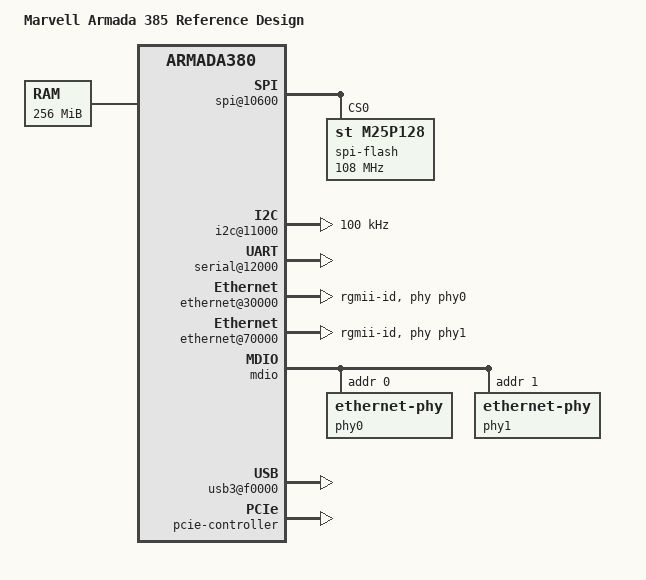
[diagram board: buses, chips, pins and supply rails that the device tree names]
/*
 * Device Tree file for Marvell Armada 385 Reference Design board
 * (RD-88F6820-AP)
 *
 *  Copyright (C) 2014 Marvell
 *
 * Gregory CLEMENT <gregory.clement@free-electrons.com>
 * Thomas Petazzoni <thomas.petazzoni@free-electrons.com>
 *
 * This file is licensed under the terms of the GNU General Public
 * License version 2.  This program is licensed "as is" without any
 * warranty of any kind, whether express or implied.
 */

/dts-v1/;
#include "armada-385.dtsi"

/ {
	model = "Marvell Armada 385 Reference Design";
	compatible = "marvell,a385-rd", "marvell,armada385", "marvell,armada380";

	chosen {
		bootargs = "console=ttyS0,115200 earlyprintk";
	};

	memory {
		device_type = "memory";
		reg = <0x00000000 0x10000000>; /* 256 MB */
	};

	soc {
		ranges = <MBUS_ID(0xf0, 0x01) 0 0xf1000000 0x100000
			  MBUS_ID(0x01, 0x1d) 0 0xfff00000 0x100000>;

		internal-regs {
			spi@10600 {
				status = "okay";

				spi-flash@0 {
					#address-cells = <1>;
					#size-cells = <1>;
					compatible = "st,m25p128";
					reg = <0>; /* Chip select 0 */
					spi-max-frequency = <108000000>;
				};
			};

			i2c@11000 {
				status = "okay";
				clock-frequency = <100000>;
			};

			serial@12000 {
				status = "okay";
			};

			ethernet@30000 {
				status = "okay";
				phy = <&phy0>;
				phy-mode = "rgmii-id";
			};

			ethernet@70000 {
				status = "okay";
				phy = <&phy1>;
				phy-mode = "rgmii-id";
			};


			mdio {
				phy0: ethernet-phy@0 {
					reg = <0>;
				};

				phy1: ethernet-phy@1 {
					reg = <1>;
				};
			};

			usb3@f0000 {
				status = "okay";
			};
		};

		pcie-controller {
			status = "okay";
			/*
			 * One PCIe units is accessible through
			 * standard PCIe slot on the board.
			 */
			pcie@1,0 {
				/* Port 0, Lane 0 */
				status = "okay";
			};
		};
	};
};
